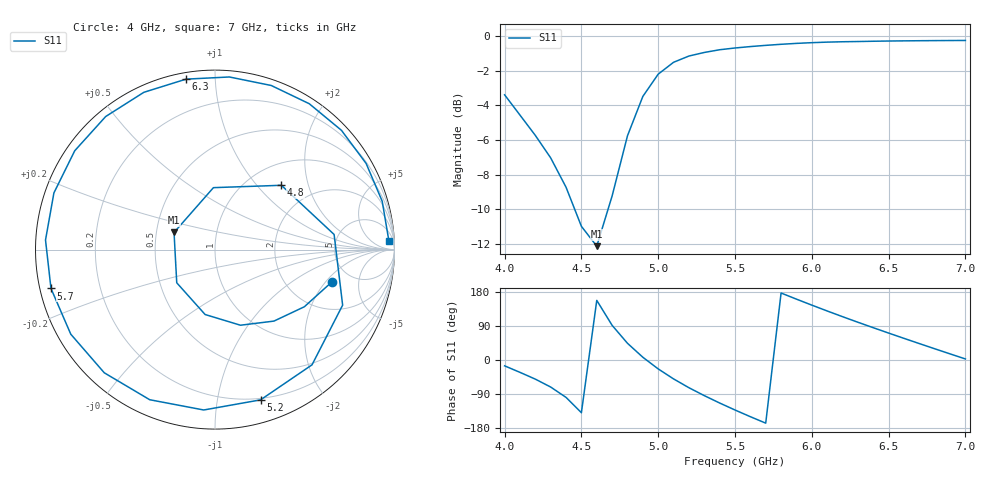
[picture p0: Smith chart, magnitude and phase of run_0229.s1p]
! Touchstone file exported from HFSS 2024.2.0
!  File:  C:/Users/wsak9/Desktop/Sim Fast/Widenad Patch/WP_AI_V1_sweep.aedt
!  Generated:  12:33:19 AM Oct 14, 2026
!  Design:  A1_model
!  Project:  WP_AI_V1_sweep
!  Setup:  Setup1
!  Solution:  Sweep
! Variables:
!  Air_gap = 4.59mm
!  Curve_Amp1 = 1.15
!  Curve_len1 = 1
!  Curve_pos = 12.955mm
!  Extra = 5.31mm
!  H_sub = 0.79mm
!  L_Patch = 21.91mm
!  L_Patch1 = 21.02mm
!  Sx = 3.95mm
!  Sy = 2.36mm
!  WS = 1.44mm
!  W_Patch = 19.89mm
!  W_Patch1 = 15.71mm
!Data is not renormalized
# GHz S MA
! Terminal data exported
! Port[1] = 1
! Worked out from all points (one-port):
!   31 points, 4 GHz to 7 GHz, reference per port
!   lowest |S11| = -12.1 dB at 4.6 GHz (marker M1), VSWR 1.66
!   |S11| at or under -10 dB: 4.456 GHz to 4.674 GHz (217.6 MHz wide, 4.77 % of centre)
!   S11 on the Smith chart (normalised r, x): 4 GHz: 3.53, -2.34; 4.8 GHz: 1.40, +1.36; 5.2 GHz: 0.19, -1.33; 5.7 GHz: 0.03, -0.12; 6.3 GHz: 0.03, +0.84; 7 GHz: 18, +30
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4  0.676 -15.4
4.1  0.5909 -32.6
4.2  0.5163 -50.5
4.3  0.4446 -71.4
4.4  0.3658 -98.7
4.5  0.2822 -139.1
4.6  0.2473 157.3
4.7  0.3453 91.5
4.8  0.5149 44.1
4.9  0.669 7.2
5  0.7755 -23.5
5.1  0.8392 -49.9
5.2  0.8748 -73.1
5.3  0.8958 -94.0
5.4  0.9121 -113.5
5.5  0.9228 -132.0
5.6  0.9315 -149.6
5.7  0.9391 -166.7
5.8  0.9458 176.8
5.9  0.9514 160.6
6.1  0.9595 129.4
6.2  0.9619 114.3
6.3  0.9633 99.6
6.4  0.9651 85.3
6.5  0.9665 71.1
6.7  0.9685 43.3
6.9  0.9697 16.2
7  0.9702 2.8
